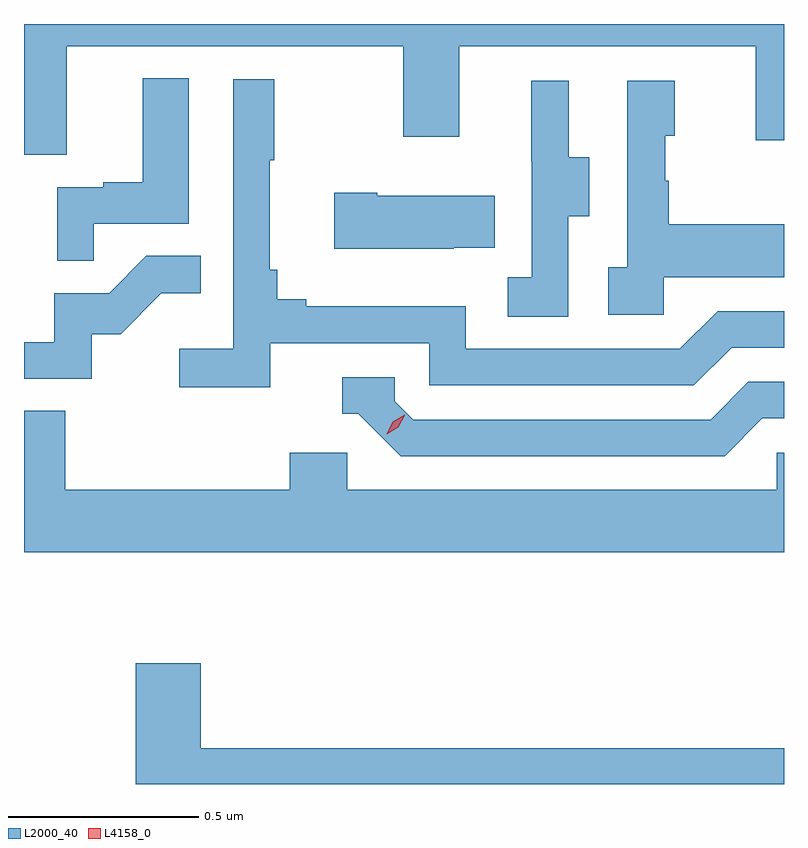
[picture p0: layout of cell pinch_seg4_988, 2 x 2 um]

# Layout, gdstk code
import gdstk
lib = gdstk.Library(unit=1e-6, precision=1e-09)
def P(c, l, *ps):  # polygons
    for p in ps: c.add(gdstk.Polygon(p, *l))
L2000_40 = (2000, 40)
L4158_0 = (4158, 0)

pinch_seg4_988 = lib.new_cell('pinch_seg4_988')
P(pinch_seg4_988, L2000_40, [(837.157,774.176),(838.042,774.176),(838.042,773.937),(838.189,773.937),(838.189,774.176),(838.97,774.176),(838.97,773.928),(839.044,773.928),(839.044,774.234),(837.044,774.234),(837.044,773.89),(837.157,773.89)],
  [(837.227,773.709),(837.478,773.709),(837.478,774.091),(837.356,774.091),(837.356,773.818),(837.253,773.818),(837.253,773.805),(837.132,773.805),(837.132,773.611),(837.227,773.611)],
  [(837.692,773.394),(838.11,773.394),(838.11,773.283),(838.807,773.283),(838.906,773.382),(839.044,773.382),(839.044,773.478),(838.869,773.478),(838.77,773.379),(838.206,773.379),(838.206,773.491),(837.787,773.491),(837.787,773.51),(837.71,773.51),(837.71,773.587),(837.691,773.587),(837.691,773.875),(837.703,773.875),(837.703,774.088),(837.594,774.088),(837.594,773.38),(837.453,773.38),(837.453,773.278),(837.692,773.278)],
  [(838.476,773.728),(838.531,773.728),(838.531,773.883),(838.477,773.883),(838.477,774.085),(838.379,774.085),(838.379,773.871),(838.38,773.871),(838.38,773.567),(838.317,773.567),(838.317,773.464),(838.476,773.464)],
  [(838.728,773.567),(839.044,773.567),(839.044,773.707),(838.741,773.707),(838.741,773.822),(838.731,773.822),(838.731,773.94),(838.756,773.94),(838.756,774.085),(838.632,774.085),(838.632,773.594),(838.581,773.594),(838.581,773.469),(838.728,773.469)],
  [(838.175,773.645),(838.283,773.645),(838.283,773.782),(837.973,773.782),(837.973,773.79),(837.861,773.79),(837.861,773.642),(838.175,773.642)],
  [(837.222,773.418),(837.298,773.418),(837.405,773.525),(837.509,773.525),(837.509,773.624),(837.366,773.624),(837.268,773.526),(837.123,773.526),(837.123,773.397),(837.044,773.397),(837.044,773.301),(837.222,773.301)],
  [(838.987,773.196),(839.044,773.196),(839.044,773.292),(838.95,773.292),(838.851,773.193),(838.068,773.193),(838.02,773.241),(838.02,773.304),(837.881,773.304),(837.881,773.208),(837.924,773.208),(838.035,773.097),(838.888,773.097)],
  [(837.044,773.216),(837.044,772.844),(839.044,772.844),(839.044,773.106),(839.025,773.106),(839.025,773.008),(837.894,773.008),(837.894,773.106),(837.743,773.106),(837.743,773.008),(837.152,773.008),(837.152,773.216)],
  [(839.044,772.328),(837.509,772.328),(837.509,772.552),(837.338,772.552),(837.338,772.234),(839.044,772.234)])
P(pinch_seg4_988, L4158_0, [(837.998,773.154),(837.998,773.154),(838.014,773.187),(838.046,773.206),(838.046,773.206),(838.046,773.205),(838.029,773.173),(837.998,773.154)])

lib.write_gds('pinch_seg4_988.gds')
